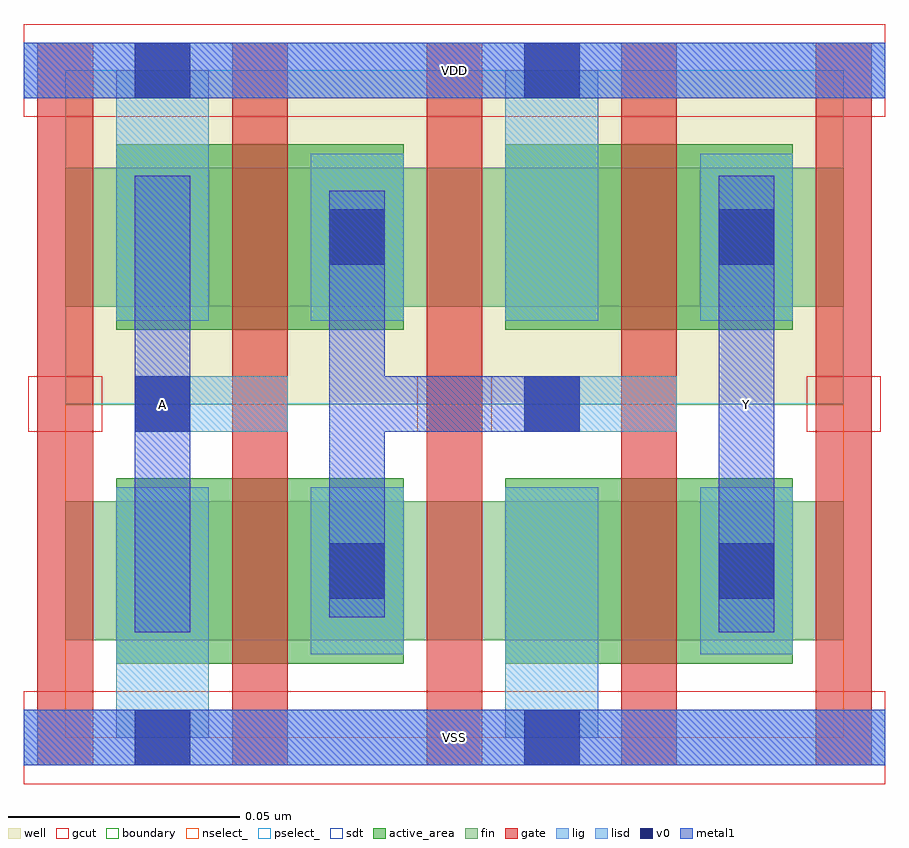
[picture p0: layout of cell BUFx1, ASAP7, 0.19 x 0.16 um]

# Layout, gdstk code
import gdstk
lib = gdstk.Library(unit=1e-6, precision=2.5e-10)
def R(c, l, rs):  # rectangles x0, y0, x1, y1
    for r in rs: c.add(gdstk.rectangle(r[:2], r[2:], *l))
def A(c, l, x, y, w, h, nx, ny, dx, dy):  # array of equal rectangles
    R(c, l, [(x+i*dx, y+j*dy, x+i*dx+w, y+j*dy+h) for i in range(nx) for j in range(ny)])
def P(c, l, *ps):  # polygons
    for p in ps: c.add(gdstk.Polygon(p, *l))
well = (1, 0)
fin = (2, 0)
gate = (7, 0)
gcut = (10, 0)
active_area = (11, 0)
nselect_ = (12, 0)
pselect_ = (13, 0)
lig = (16, 0)
lisd = (17, 0)
v0 = (18, 0)
metal1 = (19, 0)
sdt = (88, 0)
boundary = (100, 0)

bufx1 = lib.new_cell('BUFx1')
R(bufx1, well, [(0,0.072,0.168,0.144)])
R(bufx1, fin, [(0,0.021,0.168,0.051), (0,0.093,0.168,0.123)])
A(bufx1, gate, -0.006, -0.006, 0.012, 0.156, 5, 1, 0.042, 0)
A(bufx1, gcut, -0.008, 0.066, 0.016, 0.012, 3, 1, 0.084, 0)
R(bufx1, gcut, [(-0.009,-0.01,0.177,0.01), (-0.009,0.134,0.177,0.154)])
R(bufx1, active_area, [(0.011,0.016,0.073,0.056), (0.095,0.016,0.157,0.056), (0.011,0.088,0.073,0.128), (0.095,0.088,0.157,0.128)])
R(bufx1, nselect_, [(0,0,0.168,0.072)])
R(bufx1, pselect_, [(0,0.072,0.168,0.144)])
R(bufx1, lig, [(-0.009,-0.006,0.177,0.006), (0.015,0.066,0.048,0.078), (0.099,0.066,0.132,0.078), (-0.009,0.138,0.177,0.15)])
R(bufx1, lisd, [(0.011,0,0.031,0.054), (0.095,0,0.115,0.054), (0.053,0.018,0.073,0.054), (0.137,0.018,0.157,0.054), (0.011,0.09,0.031,0.144), (0.053,0.09,0.073,0.126), (0.095,0.09,0.115,0.144), (0.137,0.09,0.157,0.126)])
A(bufx1, v0, 0.015, -0.006, 0.012, 0.012, 1, 3, 0, 0.072)
A(bufx1, v0, 0.099, -0.006, 0.012, 0.012, 1, 3, 0, 0.072)
R(bufx1, v0, [(0.057,0.03,0.069,0.042), (0.141,0.03,0.153,0.042), (0.057,0.102,0.069,0.114), (0.141,0.102,0.153,0.114)])
R(bufx1, metal1, [(-0.009,-0.006,0.177,0.006), (0.015,0.0227,0.027,0.1212), (0.141,0.0227,0.153,0.1212), (-0.009,0.138,0.177,0.15)])
P(bufx1, metal1, [(0.111,0.066),(0.111,0.078),(0.069,0.078),(0.069,0.118),(0.057,0.118),(0.057,0.026),(0.069,0.026),(0.069,0.066)])
A(bufx1, sdt, 0.011, 0.021, 0.02, 0.03, 4, 2, 0.042, 0.072)
R(bufx1, boundary, [(0,0,0.168,0.144)])
bufx1.add(gdstk.Label('Y', (0.147,0.072), layer=19, texttype=251))
bufx1.add(gdstk.Label('A', (0.021,0.072), layer=19, texttype=251))
bufx1.add(gdstk.Label('VSS', (0.084,0), layer=19, texttype=251))
bufx1.add(gdstk.Label('VDD', (0.084,0.144), layer=19, texttype=251))

lib.write_gds('BUFx1.gds')
